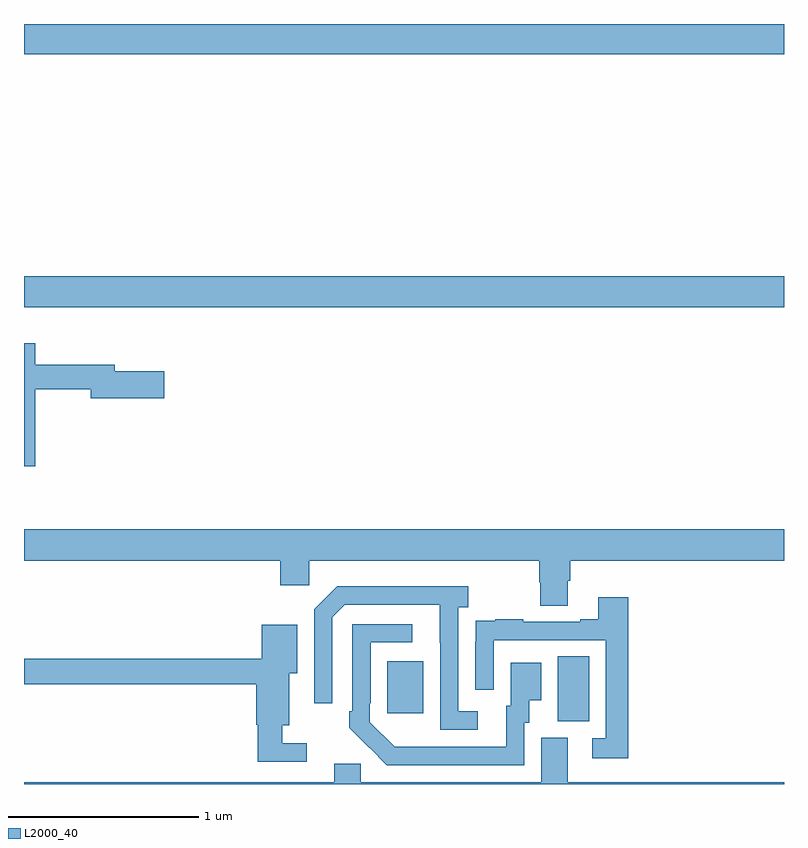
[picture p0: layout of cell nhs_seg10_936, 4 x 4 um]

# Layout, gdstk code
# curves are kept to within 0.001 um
import gdstk
lib = gdstk.Library(unit=1e-6, precision=1e-09)
def R(c, l, rs):  # rectangles x0, y0, x1, y1
    for r in rs: c.add(gdstk.rectangle(r[:2], r[2:], *l))
def P(c, l, *ps):  # polygons
    for p in ps: c.add(gdstk.Polygon(p, *l))
L2000_40 = (2000, 40)

nhs_seg10_936 = lib.new_cell('nhs_seg10_936')
R(nhs_seg10_936, L2000_40, [(161.81,1272.829,161.974,1273.172), (160.913,1272.873,161.101,1273.147), (159,1275.008,163,1275.172), (159,1276.34,163,1276.5)])
P(nhs_seg10_936, L2000_40, [(159.059,1274.578),(159.35,1274.578),(159.35,1274.531),(159.739,1274.531),(159.739,1274.673),(159.478,1274.673),(159.478,1274.707),(159.059,1274.707),(159.059,1274.821),(159,1274.821),(159,1274.172),(159.059,1274.172)],
  [(159,1273.676),(160.349,1273.676),(160.349,1273.545),(160.5,1273.545),(160.5,1273.676),(161.711,1273.676),(161.711,1273.563),(161.716,1273.563),(161.716,1273.438),(161.863,1273.438),(161.863,1273.57),(161.876,1273.57),(161.876,1273.676),(163,1273.676),(163,1273.84),(159,1273.84)],
  [(161.389,1272.882),(161.286,1272.882),(161.286,1273.43),(161.338,1273.43),(161.338,1273.54),(160.648,1273.54),(160.527,1273.419),(160.527,1272.924),(160.623,1272.924),(160.623,1273.377),(160.689,1273.443),(161.189,1273.443),(161.19,1272.786),(161.389,1272.786)],
  [(162.179,1273.483),(162.023,1273.483),(162.023,1273.366),(161.927,1273.366),(161.927,1273.353),(161.627,1273.353),(161.627,1273.366),(161.479,1273.366),(161.479,1273.359),(161.377,1273.359),(161.377,1273.25),(161.376,1273.25),(161.376,1272.996),(161.472,1272.996),(161.472,1273.257),(162.063,1273.257),(162.063,1272.741),(161.991,1272.741),(161.991,1272.636),(162.179,1272.636)],
  [(161.634,1272.822),(161.659,1272.822),(161.659,1272.941),(161.722,1272.941),(161.722,1273.138),(161.561,1273.138),(161.561,1272.912),(161.537,1272.912),(161.537,1272.696),(160.95,1272.697),(160.821,1272.825),(160.821,1272.925),(160.824,1272.925),(160.824,1273.245),(161.044,1273.245),(161.044,1273.341),(160.728,1273.341),(160.728,1272.883),(160.713,1272.883),(160.713,1272.795),(160.91,1272.6),(161.634,1272.6)],
  [(160.489,1272.714),(160.36,1272.714),(160.36,1272.809),(160.396,1272.809),(160.396,1273.082),(160.438,1273.082),(160.438,1273.339),(160.25,1273.339),(160.25,1273.16),(159,1273.16),(159,1273.024),(160.223,1273.024),(160.223,1272.813),(160.231,1272.813),(160.231,1272.618),(160.489,1272.618)],
  [(163,1272.508),(161.863,1272.508),(161.863,1272.744),(161.723,1272.744),(161.723,1272.508),(160.773,1272.508),(160.773,1272.606),(160.634,1272.606),(160.634,1272.508),(159,1272.508),(159,1272.5),(163,1272.5)])

lib.write_gds('nhs_seg10_936.gds')
